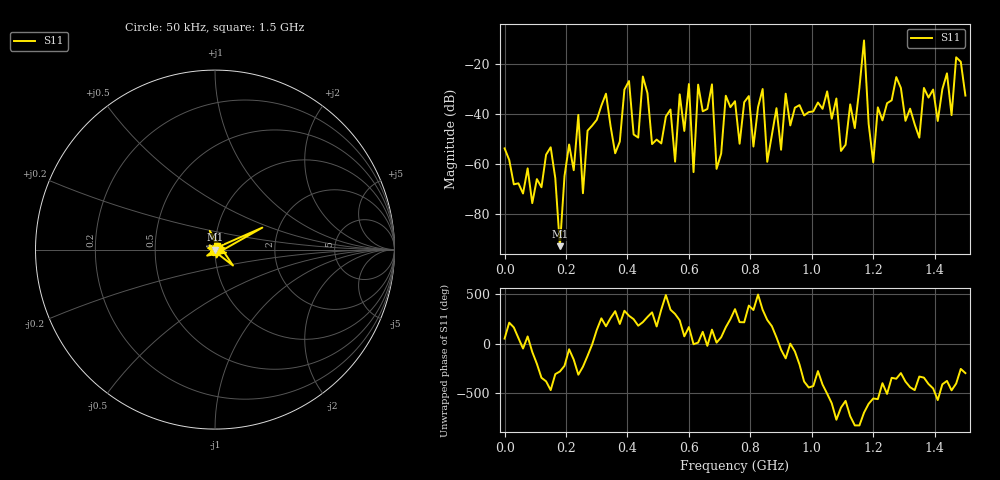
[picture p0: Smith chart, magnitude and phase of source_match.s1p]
! Created with skrf 1.8.0 (http://scikit-rf.org).
# Hz S RI R 50.0
!freq ReS11 ImS11
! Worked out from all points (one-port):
!   101 points, 50 kHz to 1.5 GHz, reference 50 ohm
!   lowest |S11| = -93.1 dB at 180 MHz (marker M1), VSWR 1.00, Z = 50 + j0.00219 ohm
!   |S11| at or under -10 dB: start of sweep to end of sweep
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50000  0.00124 0.00158
9.0047e7  2.07e-05 -0.00016
1.50045e8  -0.000659 -0.00201
1.80044e8  3.96e-06 2.19e-05
1.950435e8  -0.000412 0.000386
2.40042e8  0.00642 0.00692
2.550415e8  -0.000157 0.000201
3.30039e8  -0.0249 0.00204
3.750375e8  -0.00261 -0.000893
4.50035e8  -0.0438 -0.0336
5.550315e8  0.000538 -0.000951
5.70031e8  -0.0138 -0.02
6.0003e8  -0.0383 0.008
6.150295e8  0.000672 -6.39e-05
6.30029e8  0.0372 0.00737
6.750275e8  -0.0301 0.0239
6.90027e8  0.000768 0.000144
7.50025e8  0.0173 -0.00352
8.10023e8  0.00205 -0.00077
8.40022e8  0.0295 -0.00979
8.550215e8  -0.000552 -0.000934
9.450185e8  0.0026 -0.0129
1.125012e9  0.015 -0.00291
1.170011e9  0.2637 0.1225
1.20001e9  -0.00104 0.00023
1.275008e9  0.0534 0.00653
1.320006e9  0.00245 -0.0123
1.5e9  0.0103 0.0205
